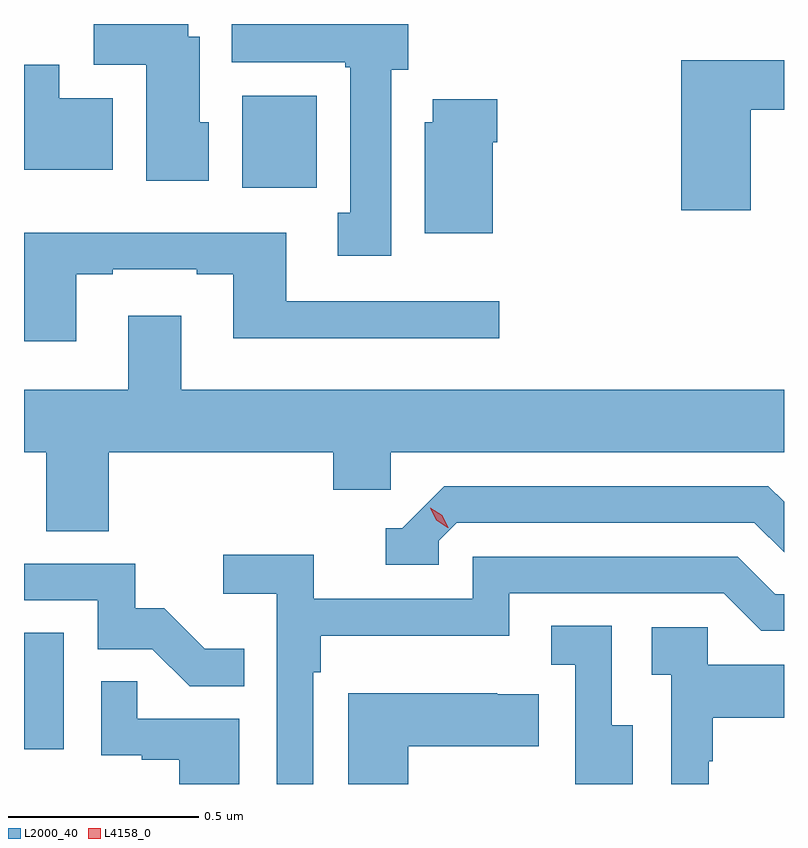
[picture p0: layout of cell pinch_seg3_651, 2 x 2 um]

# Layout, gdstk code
import gdstk
lib = gdstk.Library(unit=1e-6, precision=1e-09)
def R(c, l, rs):  # rectangles x0, y0, x1, y1
    for r in rs: c.add(gdstk.rectangle(r[:2], r[2:], *l))
def P(c, l, *ps):  # polygons
    for p in ps: c.add(gdstk.Polygon(p, *l))
L2000_40 = (2000, 40)
L4158_0 = (4158, 0)

pinch_seg3_651 = lib.new_cell('pinch_seg3_651')
R(pinch_seg3_651, L2000_40, [(1030.957,684.15,1031.062,684.457), (1031.531,685.628,1031.728,685.87)])
P(pinch_seg3_651, L2000_40, [(1031.443,685.8),(1031.419,685.8),(1031.419,686.026),(1031.389,686.026),(1031.389,686.059),(1031.14,686.059),(1031.14,685.952),(1031.279,685.952),(1031.279,685.646),(1031.443,685.646)],
  [(1031.923,685.938),(1031.968,685.938),(1031.968,686.059),(1031.504,686.059),(1031.504,685.958),(1031.803,685.958),(1031.803,685.945),(1031.816,685.945),(1031.816,685.562),(1031.783,685.562),(1031.783,685.449),(1031.923,685.449)],
  [(1032.869,685.834),(1032.957,685.834),(1032.957,685.963),(1032.686,685.963),(1032.686,685.569),(1032.869,685.569)],
  [(1031.191,685.864),(1031.05,685.864),(1031.05,685.952),(1030.957,685.952),(1030.957,685.676),(1031.191,685.676)],
  [(1032.19,685.748),(1032.203,685.748),(1032.203,685.861),(1032.032,685.861),(1032.032,685.8),(1032.011,685.8),(1032.011,685.508),(1032.19,685.508)],
  [(1031.095,685.401),(1031.191,685.401),(1031.191,685.413),(1031.411,685.413),(1031.411,685.401),(1031.507,685.401),(1031.507,685.232),(1032.208,685.232),(1032.208,685.329),(1031.647,685.329),(1031.647,685.51),(1030.957,685.51),(1030.957,685.224),(1031.095,685.224)],
  [(1031.18,684.932),(1031.771,684.932),(1031.771,684.834),(1031.922,684.834),(1031.922,684.932),(1032.957,684.932),(1032.957,685.096),(1031.371,685.096),(1031.371,685.291),(1031.231,685.291),(1031.231,685.096),(1030.957,685.096),(1030.957,684.932),(1031.015,684.932),(1031.015,684.724),(1031.18,684.724)],
  [(1032.048,684.699),(1032.096,684.747),(1032.879,684.747),(1032.957,684.669),(1032.957,684.802),(1032.916,684.843),(1032.063,684.843),(1031.952,684.732),(1031.909,684.732),(1031.909,684.636),(1032.048,684.636)],
  [(1031.718,684.353),(1031.738,684.353),(1031.738,684.449),(1032.234,684.449),(1032.234,684.561),(1032.798,684.561),(1032.897,684.462),(1032.957,684.462),(1032.957,684.558),(1032.934,684.558),(1032.835,684.657),(1032.138,684.657),(1032.138,684.546),(1031.72,684.546),(1031.72,684.662),(1031.481,684.662),(1031.481,684.56),(1031.622,684.56),(1031.622,684.059),(1031.718,684.059)],
  [(1031.537,684.415),(1031.433,684.415),(1031.326,684.522),(1031.25,684.522),(1031.25,684.639),(1030.957,684.639),(1030.957,684.543),(1031.151,684.543),(1031.151,684.414),(1031.295,684.414),(1031.393,684.316),(1031.537,684.316)],
  [(1032.559,684.213),(1032.504,684.213),(1032.504,684.476),(1032.345,684.476),(1032.345,684.373),(1032.408,684.373),(1032.408,684.069),(1032.407,684.069),(1032.407,684.059),(1032.559,684.059)],
  [(1032.759,684.119),(1032.769,684.119),(1032.769,684.233),(1032.957,684.233),(1032.957,684.373),(1032.756,684.373),(1032.756,684.471),(1032.609,684.471),(1032.609,684.347),(1032.66,684.347),(1032.66,684.059),(1032.759,684.059)],
  [(1031.524,684.231),(1031.255,684.231),(1031.255,684.329),(1031.16,684.329),(1031.16,684.135),(1031.267,684.135),(1031.267,684.123),(1031.366,684.123),(1031.366,684.059),(1031.524,684.059)],
  [(1031.968,684.158),(1032.311,684.158),(1032.311,684.295),(1032.203,684.295),(1032.203,684.298),(1031.81,684.298),(1031.81,684.059),(1031.968,684.059)])
P(pinch_seg3_651, L4158_0, [(1032.072,684.734),(1032.042,684.753),(1032.026,684.785),(1032.026,684.786),(1032.026,684.786),(1032.057,684.766),(1032.073,684.734),(1032.073,684.734)])

lib.write_gds('pinch_seg3_651.gds')
